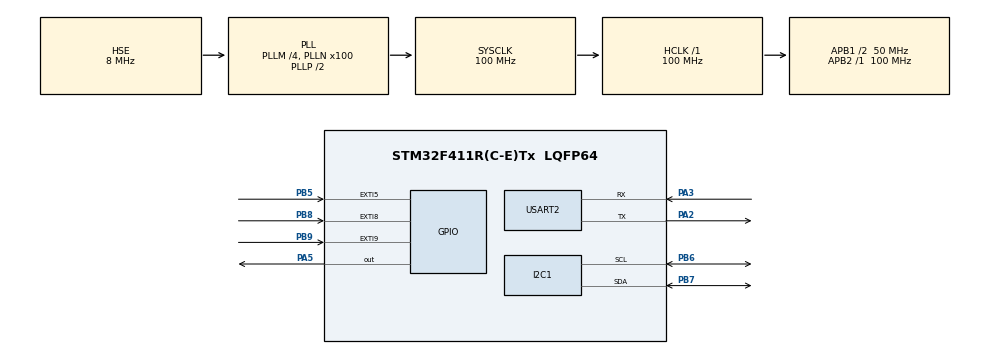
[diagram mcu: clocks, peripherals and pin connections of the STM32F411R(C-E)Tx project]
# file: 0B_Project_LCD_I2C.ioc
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Mcu.Family=STM32F4
Mcu.Name=STM32F411R(C-E)Tx
Mcu.Package=LQFP64
NVIC.EXTI9_5_IRQn=true\:0\:0\:false\:false\:true\:true\:true\:true
NVIC.PriorityGroup=NVIC_PRIORITYGROUP_4
PA13.Mode=Serial_Wire
PA13.Signal=SYS_JTMS-SWDIO
PA14.Mode=Serial_Wire
PA14.Signal=SYS_JTCK-SWCLK
PA2.Mode=Asynchronous
PA2.Signal=USART2_TX
PA3.Mode=Asynchronous
PA3.Signal=USART2_RX
PA5.Signal=GPIO_Output
PB5.GPIO_PuPd=GPIO_PULLUP
PB5.Signal=GPXTI5
PB6.Mode=I2C
PB6.Signal=I2C1_SCL
PB7.Mode=I2C
PB7.Signal=I2C1_SDA
PB8.GPIO_PuPd=GPIO_PULLUP
PB8.Signal=GPXTI8
PB9.GPIO_PuPd=GPIO_PULLUP
PB9.Signal=GPXTI9
PH0\ -\ OSC_IN.Mode=HSE-External-Clock-Source
PH0\ -\ OSC_IN.Signal=RCC_OSC_IN
PH1\ -\ OSC_OUT.Mode=HSE-External-Clock-Source
PH1\ -\ OSC_OUT.Signal=RCC_OSC_OUT
ProjectManager.HeapSize=0x200
ProjectManager.StackSize=0x400
ProjectManager.TargetToolchain=STM32CubeIDE
RCC.48MHZClocksFreq_Value=50000000
RCC.AHBFreq_Value=100000000
RCC.APB1CLKDivider=RCC_HCLK_DIV2
RCC.APB1Freq_Value=50000000
RCC.APB1TimFreq_Value=100000000
RCC.APB2Freq_Value=100000000
RCC.APB2TimFreq_Value=100000000
RCC.CortexFreq_Value=100000000
RCC.HCLKFreq_Value=100000000
RCC.HSE_VALUE=8000000
RCC.HSI_VALUE=16000000
RCC.LSE_VALUE=32768
RCC.PLLM=4
RCC.PLLN=100
RCC.PLLSourceVirtual=RCC_PLLSOURCE_HSE
RCC.SYSCLKFreq_VALUE=100000000
RCC.SYSCLKSource=RCC_SYSCLKSOURCE_PLLCLK
RCC.VCOOutputFreq_Value=200000000
USART2.VirtualMode=VM_ASYNC
board=custom

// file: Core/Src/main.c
/* USER CODE BEGIN Header */
/**
  ******************************************************************************
  * @file           : main.c
  * @brief          : Main program body
  ******************************************************************************
  */
/* USER CODE END Header */
#include "main.h"
#include "i2c.h"
#include "usart.h"
#include "gpio.h"

/* USER CODE BEGIN Includes */
#include "button.h"
#include <stdio.h>
#include "i2c_lcd.h"  // 사용자 라이브러리 헤더
/* USER CODE END Includes */

/* USER CODE BEGIN PV */
volatile uint8_t current_floor = 1;     // 현재 층수 (기본 1층)
volatile uint8_t update_flag = 1;       // LCD 갱신 플래그 (1이면 갱신)
/* USER CODE END PV */

void SystemClock_Config(void);
/* USER CODE BEGIN PFP */
void Update_LCD(void);
/* USER CODE END PFP */

/* USER CODE BEGIN 0 */

// 인터럽트 콜백 함수 (버튼이 눌리면 자동 실행됨)
void HAL_GPIO_EXTI_Callback(uint16_t GPIO_Pin)
{
  // button.c에 있는 핸들러를 호출하여 몇 층인지 판별
  HAL_GPIO_TogglePin(GPIOA, GPIO_PIN_5);
  int8_t floor = Button_ISR_Handler(GPIO_Pin);

  if (floor != -1) // 유효한 버튼 입력이라면
  {
    current_floor = (uint8_t)floor;
    update_flag = 1; // 메인 루프에게 화면 갱신을 요청
  }
}

/* USER CODE END 0 */

int main(void)
{

  /* MCU Configuration--------------------------------------------------------*/

  /* Reset of all peripherals, Initializes the Flash interface and the Systick. */
  HAL_Init();

  /* Configure the system clock */
  SystemClock_Config();

  /* Initialize all configured peripherals */
  MX_GPIO_Init();
  MX_I2C1_Init();
  MX_USART2_UART_Init();
  /* USER CODE BEGIN 2 */

  // [수정] 사용자 라이브러리 초기화 함수 호출
  i2c_lcd_init();

  // 초기 화면 갱신
  Update_LCD();

  /* USER CODE END 2 */

  /* Infinite loop */
  while (1)
  {

    /* USER CODE BEGIN 3 */

    // 플래그가 섰을 때만 LCD를 갱신
    if (update_flag == 1)
    {
      Update_LCD();
      update_flag = 0; // 플래그 내림
    }
  }
  /* USER CODE END 3 */
}

void SystemClock_Config(void)
{
  RCC_OscInitTypeDef RCC_OscInitStruct = {0};
  RCC_ClkInitTypeDef RCC_ClkInitStruct = {0};

  /** Configure the main internal regulator output voltage
  */
  __HAL_RCC_PWR_CLK_ENABLE();
  __HAL_PWR_VOLTAGESCALING_CONFIG(PWR_REGULATOR_VOLTAGE_SCALE1);

  /** Initializes the RCC Oscillators according to the specified parameters
  * in the RCC_OscInitTypeDef structure.
  */
  RCC_OscInitStruct.OscillatorType = RCC_OSCILLATORTYPE_HSE;
  RCC_OscInitStruct.HSEState = RCC_HSE_BYPASS;
  RCC_OscInitStruct.PLL.PLLState = RCC_PLL_ON;
  RCC_OscInitStruct.PLL.PLLSource = RCC_PLLSOURCE_HSE;
  RCC_OscInitStruct.PLL.PLLM = 4;
  RCC_OscInitStruct.PLL.PLLN = 100;
  RCC_OscInitStruct.PLL.PLLP = RCC_PLLP_DIV2;
  RCC_OscInitStruct.PLL.PLLQ = 4;
  if (HAL_RCC_OscConfig(&RCC_OscInitStruct) != HAL_OK)
  {
    Error_Handler();
  }

  /** Initializes the CPU, AHB and APB buses clocks
  */
  RCC_ClkInitStruct.ClockType = RCC_CLOCKTYPE_HCLK|RCC_CLOCKTYPE_SYSCLK
                              |RCC_CLOCKTYPE_PCLK1|RCC_CLOCKTYPE_PCLK2;
  RCC_ClkInitStruct.SYSCLKSource = RCC_SYSCLKSOURCE_PLLCLK;
  RCC_ClkInitStruct.AHBCLKDivider = RCC_SYSCLK_DIV1;
  RCC_ClkInitStruct.APB1CLKDivider = RCC_HCLK_DIV2;
  RCC_ClkInitStruct.APB2CLKDivider = RCC_HCLK_DIV1;

  if (HAL_RCC_ClockConfig(&RCC_ClkInitStruct, FLASH_LATENCY_3) != HAL_OK)
  {
    Error_Handler();
  }
}

/* USER CODE BEGIN 4 */

void Update_LCD(void)
{
  char msg[20];

  // [수정] 1번째 줄 출력 (0번 줄)
  move_cursor(0, 0);
  lcd_string("Elevator System");

  // [수정] 2번째 줄 출력 (1번 줄)
  sprintf(msg, "Current: %d F   ", current_floor);
  move_cursor(1, 0);
  lcd_string(msg);
}

/* USER CODE END 4 */

void Error_Handler(void)
{
  __disable_irq();
  while (1)
  {
  }
}
